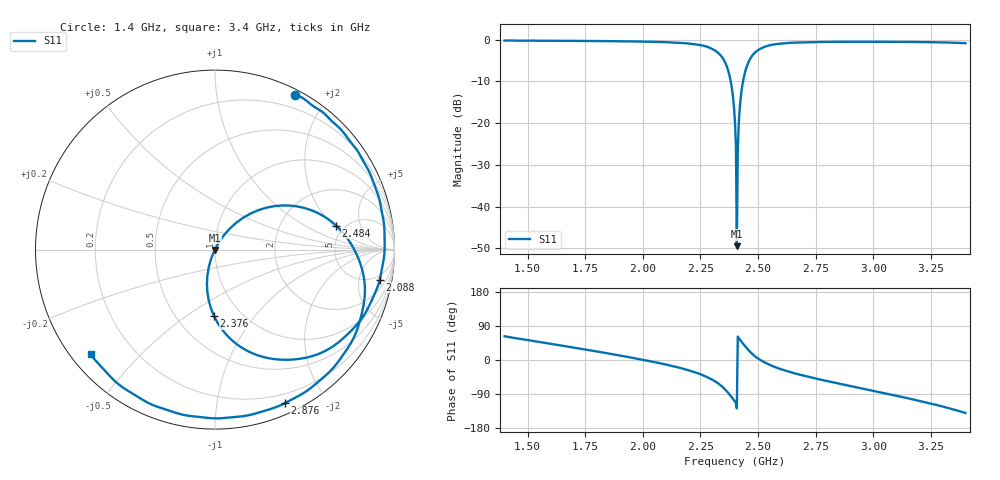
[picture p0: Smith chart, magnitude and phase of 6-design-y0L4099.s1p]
#  Hz  S  RI  R  50
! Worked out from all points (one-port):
!   501 points, 1.4 GHz to 3.4 GHz, reference 50 ohm
!   lowest |S11| = -49.5 dB at 2.408 GHz (marker M1), VSWR 1.01, Z = 49.8 - j0.265 ohm
!   |S11| at or under -10 dB: 2.381 GHz to 2.435 GHz (53.64 MHz wide, 2.23 % of centre)
!   S11 on the Smith chart (normalised r, x): 1.4 GHz: 0.05, +1.64; 2.088 GHz: 4, -10; 2.376 GHz: 0.75, -0.65; 2.484 GHz: 4.27, +2.17; 2.876 GHz: 0.11, -1.55; 3.4 GHz: 0.06, -0.36
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1.4e9  0.4479 0.8628
1.652e9  0.7647 0.5892
1.9e9  0.9324 0.1973
2.088e9  0.9181 -0.1667
2.152e9  0.8635 -0.3036
2.248e9  0.6862 -0.5178
2.312e9  0.4172 -0.6134
2.348e9  0.1803 -0.5644
2.376e9  -0.00504 -0.3714
2.392e9  -0.0449 -0.1924
2.396e9  -0.0424 -0.1441
2.4e9  -0.0343 -0.0959
2.404e9  -0.0209 -0.0485
2.408e9  -0.00205 -0.00266
2.412e9  0.0218 0.0408
2.416e9  0.0504 0.0812
2.42e9  0.0832 0.118
2.424e9  0.1196 0.1507
2.432e9  0.2004 0.2021
2.452e9  0.4172 0.2452
2.484e9  0.6751 0.1336
2.548e9  0.8324 -0.1768
2.652e9  0.7612 -0.5135
2.876e9  0.3898 -0.8555
2.9e9  0.3428 -0.8767
3.152e9  -0.1816 -0.9195
3.296e9  -0.488 -0.7848
3.4e9  -0.6922 -0.584
